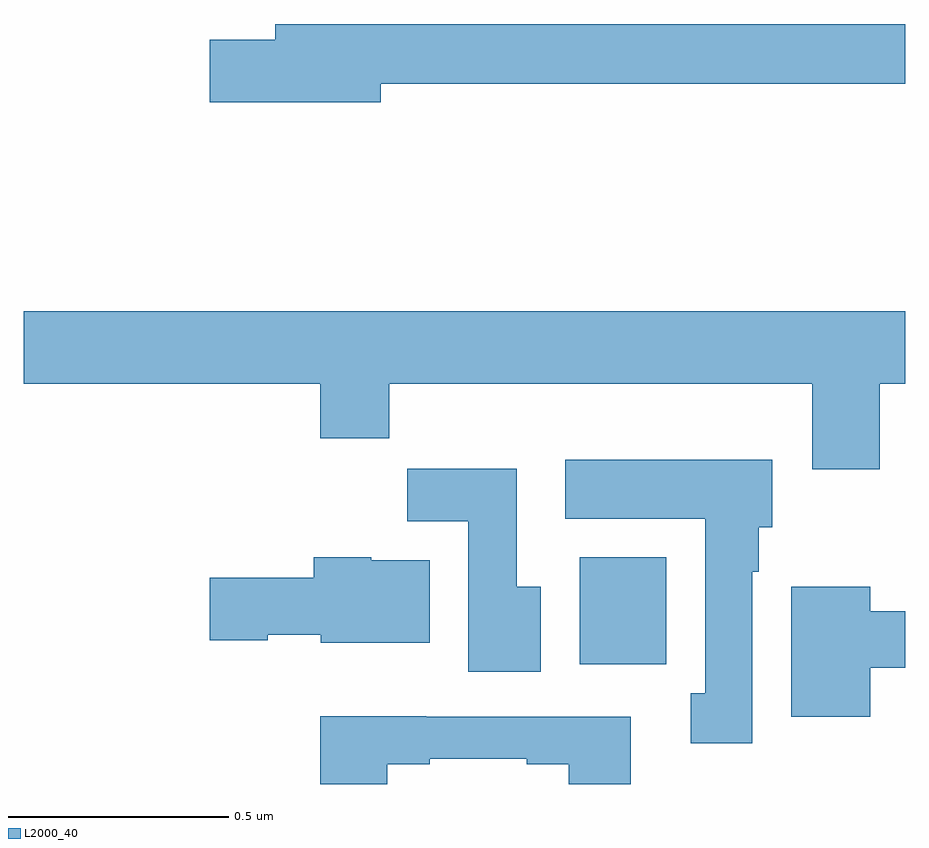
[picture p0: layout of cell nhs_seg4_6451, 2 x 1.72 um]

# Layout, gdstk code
import gdstk
lib = gdstk.Library(unit=1e-6, precision=1e-09)
def R(c, l, rs):  # rectangles x0, y0, x1, y1
    for r in rs: c.add(gdstk.rectangle(r[:2], r[2:], *l))
def P(c, l, *ps):  # polygons
    for p in ps: c.add(gdstk.Polygon(p, *l))
L2000_40 = (2000, 40)

nhs_seg4_6451 = lib.new_cell('nhs_seg4_6451')
R(nhs_seg4_6451, L2000_40, [(191.261,808.172,191.458,808.414)])
P(nhs_seg4_6451, L2000_40, [(190.81,809.488),(192,809.488),(192,809.624),(190.571,809.624),(190.571,809.588),(190.422,809.588),(190.422,809.446),(190.81,809.446)],
  [(191.942,808.808),(192,808.808),(192,808.972),(190,808.972),(190,808.808),(190.673,808.808),(190.673,808.684),(190.829,808.684),(190.829,808.808),(191.789,808.808),(191.789,808.614),(191.942,808.614)],
  [(191.653,808.382),(191.668,808.382),(191.668,808.482),(191.698,808.482),(191.698,808.636),(191.229,808.636),(191.229,808.502),(191.546,808.502),(191.546,808.106),(191.513,808.106),(191.513,807.993),(191.653,807.993)],
  [(191.173,808.348),(191.119,808.348),(191.119,808.615),(190.87,808.615),(190.87,808.496),(191.009,808.496),(191.009,808.155),(191.173,808.155)],
  [(190.921,808.408),(190.788,808.408),(190.788,808.414),(190.658,808.414),(190.658,808.368),(190.422,808.368),(190.422,808.226),(190.554,808.226),(190.554,808.238),(190.674,808.238),(190.674,808.22),(190.921,808.22)],
  [(191.92,808.164),(192,808.164),(192,808.292),(191.92,808.292),(191.92,808.348),(191.741,808.348),(191.741,808.052),(191.92,808.052)],
  [(190.825,807.945),(190.921,807.945),(190.921,807.957),(191.141,807.957),(191.141,807.945),(191.237,807.945),(191.237,807.9),(191.377,807.9),(191.377,808.053),(190.913,808.053),(190.913,808.054),(190.673,808.054),(190.673,807.9),(190.825,807.9)])

lib.write_gds('nhs_seg4_6451.gds')
